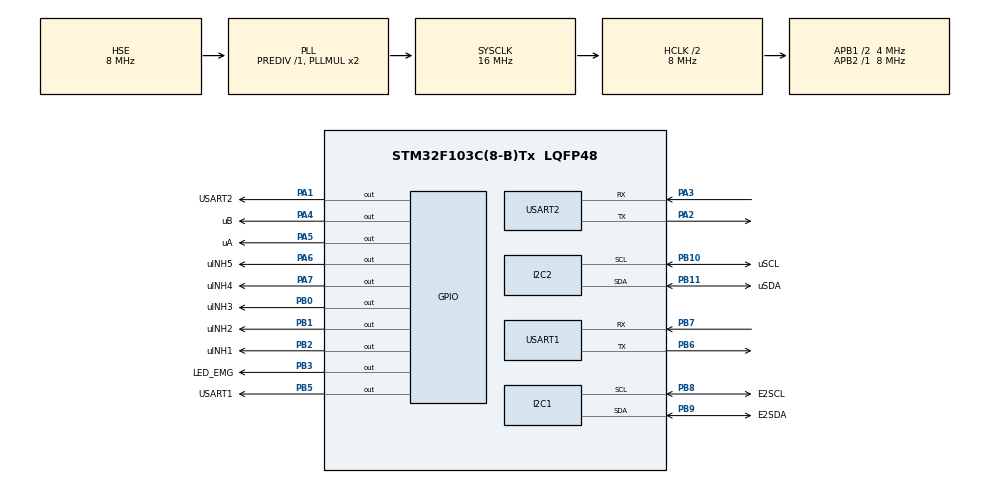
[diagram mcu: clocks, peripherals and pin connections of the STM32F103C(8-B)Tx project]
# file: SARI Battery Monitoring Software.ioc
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Mcu.Family=STM32F1
Mcu.Name=STM32F103C(8-B)Tx
Mcu.Package=LQFP48
NVIC.PriorityGroup=NVIC_PRIORITYGROUP_4
NVIC.TIM3_IRQn=true\:1\:0\:true\:false\:true\:true\:true\:true
NVIC.TIM4_IRQn=true\:1\:0\:true\:false\:true\:true\:true\:true
NVIC.USART1_IRQn=true\:0\:0\:false\:false\:true\:true\:true\:true
NVIC.USART2_IRQn=true\:0\:0\:false\:false\:true\:true\:true\:true
PA1.GPIO_Label=USART2
PA1.Signal=GPIO_Output
PA13.Mode=Serial_Wire
PA13.Signal=SYS_JTMS-SWDIO
PA14.Mode=Serial_Wire
PA14.Signal=SYS_JTCK-SWCLK
PA2.Mode=Asynchronous
PA2.Signal=USART2_TX
PA3.Mode=Asynchronous
PA3.Signal=USART2_RX
PA4.GPIO_Label=uB
PA4.Signal=GPIO_Output
PA5.GPIO_Label=uA
PA5.Signal=GPIO_Output
PA6.GPIO_Label=uINH5
PA6.Signal=GPIO_Output
PA7.GPIO_Label=uINH4
PA7.Signal=GPIO_Output
PB0.GPIO_Label=uINH3
PB0.Signal=GPIO_Output
PB1.GPIO_Label=uINH2
PB1.Signal=GPIO_Output
PB10.GPIO_Label=uSCL
PB10.Mode=I2C
PB10.Signal=I2C2_SCL
PB11.GPIO_Label=uSDA
PB11.Mode=I2C
PB11.Signal=I2C2_SDA
PB2.GPIO_Label=uINH1
PB2.Signal=GPIO_Output
PB3.GPIO_Label=LED_EMG
PB3.Signal=GPIO_Output
PB5.GPIO_Label=USART1
PB5.Signal=GPIO_Output
PB6.Mode=Asynchronous
PB6.Signal=USART1_TX
PB7.Mode=Asynchronous
PB7.Signal=USART1_RX
PB8.GPIO_Label=E2SCL
PB8.Mode=I2C
PB8.Signal=I2C1_SCL
PB9.GPIO_Label=E2SDA
PB9.Mode=I2C
PB9.Signal=I2C1_SDA
PD0-OSC_IN.Mode=HSE-External-Oscillator
PD0-OSC_IN.Signal=RCC_OSC_IN
PD1-OSC_OUT.Mode=HSE-External-Oscillator
PD1-OSC_OUT.Signal=RCC_OSC_OUT
ProjectManager.HeapSize=0x200
ProjectManager.StackSize=0x400
ProjectManager.TargetToolchain=MDK-ARM V5.32
RCC.AHBCLKDivider=RCC_SYSCLK_DIV2
RCC.AHBFreq_Value=8000000
RCC.APB1CLKDivider=RCC_HCLK_DIV2
RCC.APB1Freq_Value=4000000
RCC.APB1TimFreq_Value=8000000
RCC.APB2Freq_Value=8000000
RCC.APB2TimFreq_Value=8000000
RCC.HCLKFreq_Value=8000000
RCC.PLLSourceVirtual=RCC_PLLSOURCE_HSE
RCC.SYSCLKFreq_VALUE=16000000
RCC.SYSCLKSource=RCC_SYSCLKSOURCE_PLLCLK
RCC.USBFreq_Value=16000000
TIM2.Period=65000
TIM2.Prescaler=72
TIM3.Period=10000-1
TIM3.Prescaler=7200
TIM4.Period=10000
TIM4.Prescaler=7200
USART1.VirtualMode=VM_ASYNC
USART2.VirtualMode=VM_ASYNC
VP_CRC_VS_CRC.Mode=CRC_Activate
VP_TIM2_VS_ClockSourceINT.Mode=Internal
VP_TIM3_VS_ClockSourceINT.Mode=Internal
VP_TIM4_VS_ClockSourceINT.Mode=Internal
board=custom

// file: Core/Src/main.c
/* USER CODE BEGIN Header */
/**
  ******************************************************************************
  * @file           : main.c
  * @brief          : Main program body
  ******************************************************************************
  * @attention
  *
  * Copyright (c) 2023 STMicroelectronics.
  * All rights reserved.
  *
  * This software is licensed under terms that can be found in the LICENSE file
  * in the root directory of this software component.
  * If no LICENSE file comes with this software, it is provided AS-IS.
  *
  ******************************************************************************
  */
/* USER CODE END Header */
#include "main.h"

/* USER CODE BEGIN Includes */
#include "FUNCTION.h"
/* USER CODE END Includes */

CRC_HandleTypeDef hcrc;

I2C_HandleTypeDef hi2c1;
I2C_HandleTypeDef hi2c2;

TIM_HandleTypeDef htim2;
TIM_HandleTypeDef htim3;
TIM_HandleTypeDef htim4;

UART_HandleTypeDef huart1;
UART_HandleTypeDef huart2;

/* USER CODE BEGIN PV */
FLAG_t 							flag;
master_to_slave_t 	slave_to_master;
uint8_t 						command_counter=0;
uint8_t 						current_module=0;
master_to_slave_t 	rx_buffer;
Error_t 						error;

unsigned char 			ADSwrite[4]={0};
int16_t 						reading=0;

uint16_t 						Battery_Voltage[21]={0};
const float 				ADCConv = 2.048 / 32768.0;
const float 				R = (3.9+1.8) / 1.8;
uint8_t							str[28]={0};
float 							temp=0;
float 							temp_real=0;
float							  Battery_Temperature[2]={0};
uint32_t								rx_CRC_CALCULATE;
uint32_t								tx_CRC_CALCULATE;
/* USER CODE END PV */

void SystemClock_Config(void);
static void MX_GPIO_Init(void);
static void MX_I2C1_Init(void);
static void MX_I2C2_Init(void);
static void MX_USART1_UART_Init(void);
static void MX_USART2_UART_Init(void);
static void MX_TIM3_Init(void);
static void MX_TIM4_Init(void);
static void MX_CRC_Init(void);
static void MX_TIM2_Init(void);

/* USER CODE BEGIN 0 */
void HAL_TIM_PeriodElapsedCallback(TIM_HandleTypeDef *htim)
	{
		if(htim->Instance == TIM4)
			{
				for(uint8_t cnt =1;cnt<6;cnt++)
					{
						MUX_Enable(cnt);
					}
				All_MUX_Disable();
			}
		else if(htim->Instance == TIM3)
			{
				reset_state();
			}
	}
/* USER CODE END 0 */

int main(void)
{

  /* MCU Configuration--------------------------------------------------------*/

  /* Reset of all peripherals, Initializes the Flash interface and the Systick. */
  HAL_Init();

  /* USER CODE BEGIN Init */

	slave_to_master.detail.start_frame1 		= slave_first_frame_1;
	slave_to_master.detail.start_frame2 		= slave_first_frame_2;
	slave_to_master.detail.end_frame1	  		= slave_second_frame_1;
	slave_to_master.detail.end_frame2	  		= slave_second_frame_2;
	slave_to_master.detail.Address		  		= SLAVE_ADDRESS +100;
	slave_to_master.detail.command_or_data  = 0;
  /* USER CODE END Init */

  /* Configure the system clock */
  SystemClock_Config();

  /* Initialize all configured peripherals */
  MX_GPIO_Init();
  MX_I2C1_Init();
  MX_I2C2_Init();
  MX_USART1_UART_Init();
  MX_USART2_UART_Init();
  MX_TIM3_Init();
  MX_TIM4_Init();
  MX_CRC_Init();
  MX_TIM2_Init();
  /* USER CODE BEGIN 2 */
	HAL_TIM_Base_Start(&htim2);
	__HAL_TIM_ENABLE(&htim2);
	for(uint8_t cnt=0; cnt<22;cnt++)
	{
		slave_to_master.detail.data[cnt*3] = cnt+1;
	}
	//HAL_CRC_Init(&hcrc);

	crc_init();
//	HAL_TIM_Base_Start_IT(&htim4);
	__HAL_UART_ENABLE_IT(&huart1,UART_IT_RXNE);
	flag.FLAG =0;
	reset_state();
  /* USER CODE END 2 */

  /* Infinite loop */
  /* USER CODE BEGIN WHILE */
  while (1)
		{
			All_MUX_Disable();
				for(uint8_t cnt =1;cnt<6;cnt++)
					{
						MUX_Enable(cnt);
					}
				All_MUX_Disable();

    /* USER CODE END WHILE */

		}
}

void SystemClock_Config(void)
{
  RCC_OscInitTypeDef RCC_OscInitStruct = {0};
  RCC_ClkInitTypeDef RCC_ClkInitStruct = {0};

  /** Initializes the RCC Oscillators according to the specified parameters
  * in the RCC_OscInitTypeDef structure.
  */
  RCC_OscInitStruct.OscillatorType = RCC_OSCILLATORTYPE_HSE;
  RCC_OscInitStruct.HSEState = RCC_HSE_ON;
  RCC_OscInitStruct.HSEPredivValue = RCC_HSE_PREDIV_DIV1;
  RCC_OscInitStruct.HSIState = RCC_HSI_ON;
  RCC_OscInitStruct.PLL.PLLState = RCC_PLL_ON;
  RCC_OscInitStruct.PLL.PLLSource = RCC_PLLSOURCE_HSE;
  RCC_OscInitStruct.PLL.PLLMUL = RCC_PLL_MUL2;
  if (HAL_RCC_OscConfig(&RCC_OscInitStruct) != HAL_OK)
  {
    Error_Handler();
  }

  /** Initializes the CPU, AHB and APB buses clocks
  */
  RCC_ClkInitStruct.ClockType = RCC_CLOCKTYPE_HCLK|RCC_CLOCKTYPE_SYSCLK
                              |RCC_CLOCKTYPE_PCLK1|RCC_CLOCKTYPE_PCLK2;
  RCC_ClkInitStruct.SYSCLKSource = RCC_SYSCLKSOURCE_PLLCLK;
  RCC_ClkInitStruct.AHBCLKDivider = RCC_SYSCLK_DIV2;
  RCC_ClkInitStruct.APB1CLKDivider = RCC_HCLK_DIV2;
  RCC_ClkInitStruct.APB2CLKDivider = RCC_HCLK_DIV1;

  if (HAL_RCC_ClockConfig(&RCC_ClkInitStruct, FLASH_LATENCY_0) != HAL_OK)
  {
    Error_Handler();
  }
}

static void MX_CRC_Init(void)
{

  hcrc.Instance = CRC;
  if (HAL_CRC_Init(&hcrc) != HAL_OK)
  {
    Error_Handler();
  }

}

static void MX_I2C1_Init(void)
{

  hi2c1.Instance = I2C1;
  hi2c1.Init.ClockSpeed = 100000;
  hi2c1.Init.DutyCycle = I2C_DUTYCYCLE_2;
  hi2c1.Init.OwnAddress1 = 0;
  hi2c1.Init.AddressingMode = I2C_ADDRESSINGMODE_7BIT;
  hi2c1.Init.DualAddressMode = I2C_DUALADDRESS_DISABLE;
  hi2c1.Init.OwnAddress2 = 0;
  hi2c1.Init.GeneralCallMode = I2C_GENERALCALL_DISABLE;
  hi2c1.Init.NoStretchMode = I2C_NOSTRETCH_DISABLE;
  if (HAL_I2C_Init(&hi2c1) != HAL_OK)
  {
    Error_Handler();
  }

}

static void MX_I2C2_Init(void)
{

  hi2c2.Instance = I2C2;
  hi2c2.Init.ClockSpeed = 100000;
  hi2c2.Init.DutyCycle = I2C_DUTYCYCLE_2;
  hi2c2.Init.OwnAddress1 = 0;
  hi2c2.Init.AddressingMode = I2C_ADDRESSINGMODE_7BIT;
  hi2c2.Init.DualAddressMode = I2C_DUALADDRESS_DISABLE;
  hi2c2.Init.OwnAddress2 = 0;
  hi2c2.Init.GeneralCallMode = I2C_GENERALCALL_DISABLE;
  hi2c2.Init.NoStretchMode = I2C_NOSTRETCH_DISABLE;
  if (HAL_I2C_Init(&hi2c2) != HAL_OK)
  {
    Error_Handler();
  }

}

static void MX_TIM2_Init(void)
{

  TIM_ClockConfigTypeDef sClockSourceConfig = {0};
  TIM_MasterConfigTypeDef sMasterConfig = {0};

  htim2.Instance = TIM2;
  htim2.Init.Prescaler = 72;
  htim2.Init.CounterMode = TIM_COUNTERMODE_UP;
  htim2.Init.Period = 65000;
  htim2.Init.ClockDivision = TIM_CLOCKDIVISION_DIV1;
  htim2.Init.AutoReloadPreload = TIM_AUTORELOAD_PRELOAD_DISABLE;
  if (HAL_TIM_Base_Init(&htim2) != HAL_OK)
  {
    Error_Handler();
  }
  sClockSourceConfig.ClockSource = TIM_CLOCKSOURCE_INTERNAL;
  if (HAL_TIM_ConfigClockSource(&htim2, &sClockSourceConfig) != HAL_OK)
  {
    Error_Handler();
  }
  sMasterConfig.MasterOutputTrigger = TIM_TRGO_RESET;
  sMasterConfig.MasterSlaveMode = TIM_MASTERSLAVEMODE_DISABLE;
  if (HAL_TIMEx_MasterConfigSynchronization(&htim2, &sMasterConfig) != HAL_OK)
  {
    Error_Handler();
  }

}

static void MX_TIM3_Init(void)
{

  TIM_ClockConfigTypeDef sClockSourceConfig = {0};
  TIM_MasterConfigTypeDef sMasterConfig = {0};

  htim3.Instance = TIM3;
  htim3.Init.Prescaler = 7200;
  htim3.Init.CounterMode = TIM_COUNTERMODE_UP;
  htim3.Init.Period = 10000-1;
  htim3.Init.ClockDivision = TIM_CLOCKDIVISION_DIV1;
  htim3.Init.AutoReloadPreload = TIM_AUTORELOAD_PRELOAD_DISABLE;
  if (HAL_TIM_Base_Init(&htim3) != HAL_OK)
  {
    Error_Handler();
  }
  sClockSourceConfig.ClockSource = TIM_CLOCKSOURCE_INTERNAL;
  if (HAL_TIM_ConfigClockSource(&htim3, &sClockSourceConfig) != HAL_OK)
  {
    Error_Handler();
  }
  sMasterConfig.MasterOutputTrigger = TIM_TRGO_RESET;
  sMasterConfig.MasterSlaveMode = TIM_MASTERSLAVEMODE_DISABLE;
  if (HAL_TIMEx_MasterConfigSynchronization(&htim3, &sMasterConfig) != HAL_OK)
  {
    Error_Handler();
  }

}

static void MX_TIM4_Init(void)
{

  TIM_ClockConfigTypeDef sClockSourceConfig = {0};
  TIM_MasterConfigTypeDef sMasterConfig = {0};

  htim4.Instance = TIM4;
  htim4.Init.Prescaler = 7200;
  htim4.Init.CounterMode = TIM_COUNTERMODE_UP;
  htim4.Init.Period = 10000;
  htim4.Init.ClockDivision = TIM_CLOCKDIVISION_DIV1;
  htim4.Init.AutoReloadPreload = TIM_AUTORELOAD_PRELOAD_DISABLE;
  if (HAL_TIM_Base_Init(&htim4) != HAL_OK)
  {
    Error_Handler();
  }
  sClockSourceConfig.ClockSource = TIM_CLOCKSOURCE_INTERNAL;
  if (HAL_TIM_ConfigClockSource(&htim4, &sClockSourceConfig) != HAL_OK)
  {
    Error_Handler();
  }
  sMasterConfig.MasterOutputTrigger = TIM_TRGO_RESET;
  sMasterConfig.MasterSlaveMode = TIM_MASTERSLAVEMODE_DISABLE;
  if (HAL_TIMEx_MasterConfigSynchronization(&htim4, &sMasterConfig) != HAL_OK)
  {
    Error_Handler();
  }

}

static void MX_USART1_UART_Init(void)
{

  huart1.Instance = USART1;
  huart1.Init.BaudRate = 115200;
  huart1.Init.WordLength = UART_WORDLENGTH_8B;
  huart1.Init.StopBits = UART_STOPBITS_1;
  huart1.Init.Parity = UART_PARITY_NONE;
  huart1.Init.Mode = UART_MODE_TX_RX;
  huart1.Init.HwFlowCtl = UART_HWCONTROL_NONE;
  huart1.Init.OverSampling = UART_OVERSAMPLING_16;
  if (HAL_UART_Init(&huart1) != HAL_OK)
  {
    Error_Handler();
  }

}

static void MX_USART2_UART_Init(void)
{

  huart2.Instance = USART2;
  huart2.Init.BaudRate = 115200;
  huart2.Init.WordLength = UART_WORDLENGTH_8B;
  huart2.Init.StopBits = UART_STOPBITS_1;
  huart2.Init.Parity = UART_PARITY_NONE;
  huart2.Init.Mode = UART_MODE_TX_RX;
  huart2.Init.HwFlowCtl = UART_HWCONTROL_NONE;
  huart2.Init.OverSampling = UART_OVERSAMPLING_16;
  if (HAL_UART_Init(&huart2) != HAL_OK)
  {
    Error_Handler();
  }

}

static void MX_GPIO_Init(void)
{
  GPIO_InitTypeDef GPIO_InitStruct = {0};

  /* GPIO Ports Clock Enable */
  __HAL_RCC_GPIOD_CLK_ENABLE();
  __HAL_RCC_GPIOA_CLK_ENABLE();
  __HAL_RCC_GPIOB_CLK_ENABLE();

  /*Configure GPIO pin Output Level */
  HAL_GPIO_WritePin(GPIOA, USART2_Pin|uB_Pin|uA_Pin|uINH5_Pin
                          |uINH4_Pin, GPIO_PIN_RESET);

  /*Configure GPIO pin Output Level */
  HAL_GPIO_WritePin(GPIOB, uINH3_Pin|uINH2_Pin|uINH1_Pin|LED_EMG_Pin
                          |USART1_Pin, GPIO_PIN_RESET);

  /*Configure GPIO pins : USART2_Pin uB_Pin uA_Pin uINH5_Pin
                           uINH4_Pin */
  GPIO_InitStruct.Pin = USART2_Pin|uB_Pin|uA_Pin|uINH5_Pin
                          |uINH4_Pin;
  GPIO_InitStruct.Mode = GPIO_MODE_OUTPUT_PP;
  GPIO_InitStruct.Pull = GPIO_NOPULL;
  GPIO_InitStruct.Speed = GPIO_SPEED_FREQ_LOW;
  HAL_GPIO_Init(GPIOA, &GPIO_InitStruct);

  /*Configure GPIO pins : uINH3_Pin uINH2_Pin uINH1_Pin LED_EMG_Pin
                           USART1_Pin */
  GPIO_InitStruct.Pin = uINH3_Pin|uINH2_Pin|uINH1_Pin|LED_EMG_Pin
                          |USART1_Pin;
  GPIO_InitStruct.Mode = GPIO_MODE_OUTPUT_PP;
  GPIO_InitStruct.Pull = GPIO_NOPULL;
  GPIO_InitStruct.Speed = GPIO_SPEED_FREQ_LOW;
  HAL_GPIO_Init(GPIOB, &GPIO_InitStruct);

}

void Error_Handler(void)
{
  __disable_irq();
  while (1)
  {
  }
}
